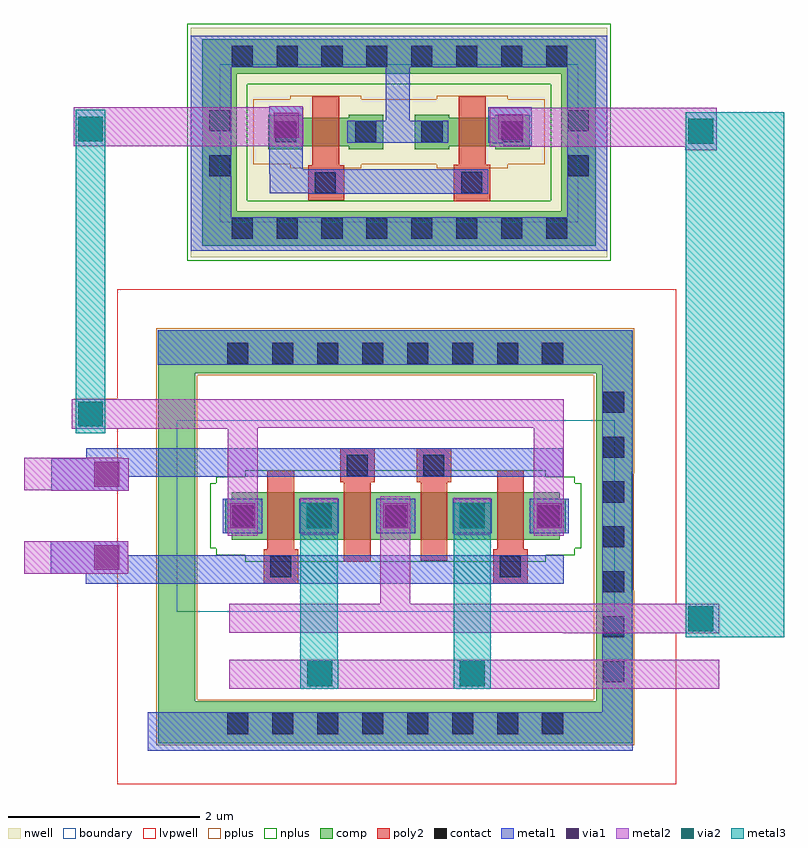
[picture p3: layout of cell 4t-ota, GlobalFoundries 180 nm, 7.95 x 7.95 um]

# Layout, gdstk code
import gdstk
lib = gdstk.Library(unit=1e-6, precision=1e-09)
def R(c, l, rs):  # rectangles x0, y0, x1, y1
    for r in rs: c.add(gdstk.rectangle(r[:2], r[2:], *l))
def A(c, l, x, y, w, h, nx, ny, dx, dy):  # array of equal rectangles
    R(c, l, [(x+i*dx, y+j*dy, x+i*dx+w, y+j*dy+h) for i in range(nx) for j in range(ny)])
boundary = (0, 0)
nwell = (21, 0)
comp = (22, 0)
poly2 = (30, 0)
pplus = (31, 0)
nplus = (32, 0)
contact = (33, 0)
metal1 = (34, 0)
via1 = (35, 0)
metal2 = (36, 0)
via2 = (38, 0)
metal3 = (42, 0)
lvpwell = (204, 0)

pfet_03v3_rfu83t_1 = lib.new_cell('pfet_03v3_RFU83T$1')
R(pfet_03v3_rfu83t_1, boundary, [(-1.875,-0.825,1.875,0.825)])
R(pfet_03v3_rfu83t_1, nwell, [(-2.175,-1.19,2.175,1.21)])
R(pfet_03v3_rfu83t_1, comp, [(-2.055,-1.07,2.055,-0.71), (-2.055,-0.71,-1.695,0.73), (1.695,-0.71,2.055,0.73), (-1.365,-0.06,-1.005,-0.03), (-0.525,-0.06,-0.165,-0.03), (0.165,-0.06,0.525,-0.03), (1.005,-0.06,1.365,-0.03), (-1.365,-0.03,-0.165,0.27), (0.165,-0.03,1.365,0.27), (-1.365,0.27,-1.005,0.3), (-0.525,0.27,-0.165,0.3), (0.165,0.27,0.525,0.3), (1.005,0.27,1.365,0.3), (-2.055,0.73,2.055,1.09)])
R(pfet_03v3_rfu83t_1, poly2, [(0.575,-0.605,0.955,-0.225), (-0.95,-0.595,-0.57,-0.23), (-0.905,-0.23,-0.625,0.49), (0.625,-0.225,0.905,0.49)])
R(pfet_03v3_rfu83t_1, pplus, [(-1.135,-0.26,-0.395,-0.22), (0.395,-0.26,1.135,-0.22), (-1.525,-0.22,1.525,0.46), (-1.135,0.46,-0.395,0.5), (0.395,0.46,1.135,0.5)])
R(pfet_03v3_rfu83t_1, nplus, [(-2.215,-1.23,2.215,-0.6), (-2.215,-0.6,-1.585,0.62), (1.585,-0.6,2.215,0.62), (-2.215,0.62,2.215,1.25)])
R(pfet_03v3_rfu83t_1, contact, [(-0.88,-0.52,-0.66,-0.3), (0.65,-0.515,0.87,-0.295), (-1.985,-0.345,-1.765,-0.125), (1.765,-0.345,1.985,-0.125), (-1.295,0.01,-1.075,0.23), (-0.455,0.01,-0.235,0.23), (0.235,0.01,0.455,0.23), (1.075,0.01,1.295,0.23), (-1.985,0.125,-1.765,0.345), (1.765,0.125,1.985,0.345)])
R(pfet_03v3_rfu83t_1, metal1, [(-1.99,-0.71,-1.76,0.71), (1.76,-0.71,1.99,0.71), (-0.94,-0.525,0.935,-0.275), (-1.355,0.005,-1.015,0.235), (-0.515,0.005,-0.175,0.235), (0.175,0.005,0.515,0.235), (1.015,0.005,1.355,0.235)])

nfet_03v3_azgml9_1 = lib.new_cell('nfet_03v3_AZGML9$1')
R(nfet_03v3_azgml9_1, boundary, [(-2.29,-1,2.29,1)])
R(nfet_03v3_azgml9_1, comp, [(-2.48,-1.94,2.475,-1.49), (-2.48,-1.49,-2.095,1.94), (2.095,-1.49,2.475,-0.465), (2.095,-0.465,2.47,0.8), (-1.715,-0.25,1.715,-0.18), (-1.78,-0.18,1.78,0.18), (-1.715,0.18,1.715,0.25), (2.095,0.8,2.475,1.94), (-2.48,1.94,2.475,2.375)])
R(nfet_03v3_azgml9_1, poly2, [(-0.58,-0.71,-0.22,-0.35), (0.22,-0.71,0.58,-0.35), (-1.34,-0.47,-1.06,0.35), (1.06,-0.47,1.34,0.35), (-0.54,-0.35,-0.26,0.48), (0.26,-0.35,0.54,0.47), (-1.38,0.35,-1.02,0.71), (1.02,0.35,1.38,0.71)])
R(nfet_03v3_azgml9_1, pplus, [(-2.5,-1.96,2.495,-1.47), (-2.5,-1.47,-2.075,1.92), (2.07,-1.47,2.495,-0.445), (2.07,-0.445,2.49,0.78), (2.07,0.78,2.495,1.92), (-2.5,1.92,2.495,2.395)])
R(nfet_03v3_azgml9_1, nplus, [(-1.57,-0.48,1.57,-0.41), (-1.875,-0.41,1.875,-0.34), (-1.94,-0.34,1.94,0.34), (-1.875,0.34,1.875,0.41), (-1.57,0.41,1.57,0.48)])
A(nfet_03v3_azgml9_1, contact, -1.76, -1.81, 0.22, 0.22, 8, 2, 0.47, 3.87)
A(nfet_03v3_azgml9_1, contact, 2.17, -1.3, 0.22, 0.22, 1, 7, 0, 0.47)
A(nfet_03v3_azgml9_1, contact, -1.71, -0.11, 0.22, 0.22, 5, 1, 0.8, 0)
R(nfet_03v3_azgml9_1, contact, [(-0.51,-0.64,-0.29,-0.42), (0.29,-0.64,0.51,-0.42), (-1.31,0.42,-1.09,0.64), (1.09,0.42,1.31,0.64)])
A(nfet_03v3_azgml9_1, metal1, -1.805, -0.18, 0.41, 0.36, 4, 1, 0.8, 0)
R(nfet_03v3_azgml9_1, metal1, [(-2.145,-1.875,2.45,-1.58), (2.165,-1.58,2.45,2.05), (-3.235,-0.71,1.75,-0.605), (-3.6,-0.605,1.75,-0.41), (-3.6,-0.41,-2.79,-0.265), (1.4,-0.18,1.81,0.18), (-3.605,0.265,-2.795,0.41), (-3.605,0.41,1.755,0.605), (-3.24,0.605,1.755,0.71), (-2.145,2.05,2.45,2.345)])
A(nfet_03v3_azgml9_1, via1, -1.73, -0.13, 0.26, 0.26, 4, 1, 0.8, 0)
R(nfet_03v3_azgml9_1, via1, [(-3.15,-0.565,-2.89,-0.305), (1.475,-0.13,1.735,0.13), (-3.15,0.305,-2.89,0.565)])
R(nfet_03v3_azgml9_1, metal2, [(-1.755,-1.22,1.76,-0.92), (-1.755,-0.92,-1.44,0.205), (1.445,-0.92,1.76,0.205), (-3.6,-0.605,-2.79,-0.265), (-0.16,-0.205,0.155,0.92), (-0.995,-0.19,-0.605,0.195), (0.605,-0.19,0.995,0.195), (-3.605,0.265,-2.795,0.605), (-1.74,0.92,1.755,1.22), (-1.74,1.505,1.755,1.805)])
R(nfet_03v3_azgml9_1, via2, [(-0.93,-0.13,-0.67,0.13), (0.67,-0.13,0.93,0.13), (-0.925,1.52,-0.665,1.78), (0.67,1.52,0.93,1.78)])
R(nfet_03v3_azgml9_1, metal3, [(-0.995,-0.14,-0.605,1.505), (0.605,-0.14,0.995,1.805), (-0.995,1.505,-0.6,1.805)])
R(nfet_03v3_azgml9_1, lvpwell, [(-2.91,-2.37,2.935,2.805), (-3.605,0.265,-3.6,0.605)])

c_4t_ota = lib.new_cell('4t-ota')
R(c_4t_ota, nwell, [(6.86,1.59,10.38,1.82), (6.86,3.39,10.38,3.62)])
R(c_4t_ota, comp, [(6.86,1.59,10.38,1.82), (6.86,3.39,10.38,3.62)])
R(c_4t_ota, nplus, [(6.7,1.43,10.54,1.98), (6.7,3.23,10.54,3.78)])
A(c_4t_ota, contact, 6.865, 1.595, 0.22, 0.22, 8, 2, 0.47, 1.8)
R(c_4t_ota, metal1, [(5.99,-3.755,11.06,-3.35), (10.74,-3.35,11.06,0.28), (6.095,0.28,11.06,0.64), (6.44,1.47,10.79,1.82), (6.44,1.82,6.86,3.39), (10.375,1.82,10.79,3.39), (7.265,2.075,9.545,2.275), (7.26,2.275,9.545,2.325), (7.26,2.325,7.61,2.985), (9.705,2.57,10.005,2.595), (9.6,2.595,10.005,2.6), (8.075,2.6,9.105,2.83), (9.55,2.6,10.005,2.97), (8.475,2.83,8.725,3.39), (6.44,3.39,10.79,3.72)])
R(c_4t_ota, via1, [(9.655,2.64,9.915,2.9), (7.305,2.655,7.565,2.915)])
R(c_4t_ota, metal2, [(9.92,-3.105,11.965,-2.805), (10.33,-2.525,11.965,-2.22), (4.695,-1.905,5.785,-1.565), (4.695,-1.03,5.715,-0.69), (5.195,-0.39,6.825,-0.08), (11.61,2.525,11.935,2.56), (9.565,2.56,11.935,2.965), (5.215,2.565,7.615,2.97), (7.26,2.97,7.61,2.985)])
R(c_4t_ota, via2, [(11.64,-2.505,11.9,-2.245), (5.26,-0.365,5.52,-0.105), (11.64,2.59,11.9,2.85), (5.26,2.615,5.52,2.875)])
R(c_4t_ota, metal3, [(11.615,-2.57,12.64,2.92), (5.235,-0.435,5.545,2.945)])
R(c_4t_ota, lvpwell, [(9.13,-2.67,10.49,-2.525), (9.13,-2.525,11.965,-2.22), (9.13,-2.22,10.49,-1.565), (5.195,-0.39,6.825,-0.08), (5.22,-0.08,6.825,-0.075)])
c_4t_ota.add(gdstk.Reference(pfet_03v3_rfu83t_1, (8.615,2.595)))
c_4t_ota.add(gdstk.Reference(nfet_03v3_azgml9_1, (8.58,-1.3), x_reflection=True))

lib.write_gds('4t-ota.gds')
